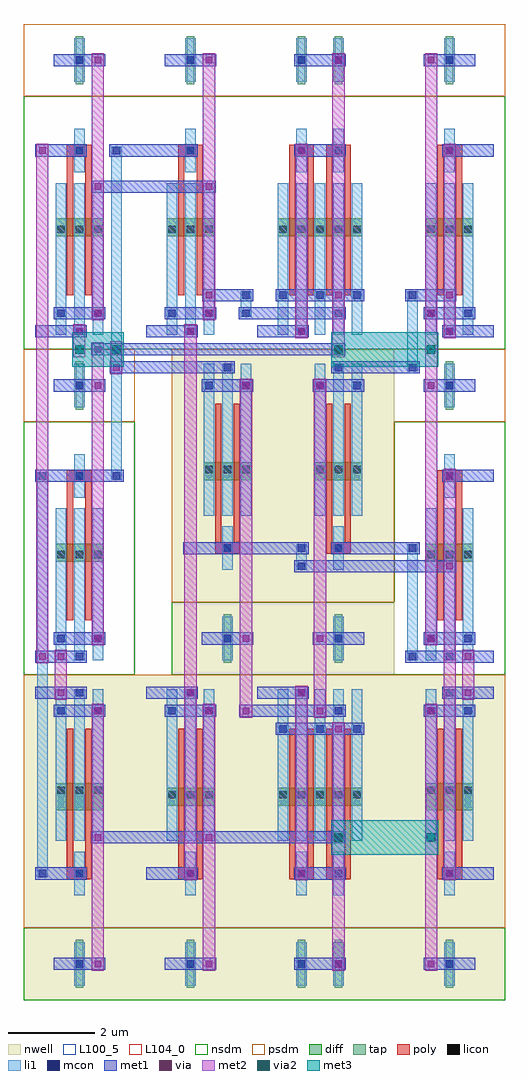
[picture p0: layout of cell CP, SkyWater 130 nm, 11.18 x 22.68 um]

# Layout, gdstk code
import gdstk
lib = gdstk.Library(unit=1e-6, precision=1e-09)
def R(c, l, rs):  # rectangles x0, y0, x1, y1
    for r in rs: c.add(gdstk.rectangle(r[:2], r[2:], *l))
def A(c, l, x, y, w, h, nx, ny, dx, dy):  # array of equal rectangles
    R(c, l, [(x+i*dx, y+j*dy, x+i*dx+w, y+j*dy+h) for i in range(nx) for j in range(ny)])
nwell = (64, 20)
diff = (65, 20)
tap = (65, 44)
poly = (66, 20)
licon = (66, 44)
li1 = (67, 20)
mcon = (67, 44)
met1 = (68, 20)
via = (68, 44)
met2 = (69, 20)
via2 = (69, 44)
met3 = (70, 20)
nsdm = (93, 44)
psdm = (94, 20)
L100_5 = (100, 5)
L104_0 = (104, 0)

c_cp = lib.new_cell('CP')
R(c_cp, nwell, [(0,0,2.58,7.56), (2.58,0,5.16,7.56), (5.16,0,8.6,7.56), (8.6,0,11.18,7.56), (3.44,7.56,6.02,15.12), (6.02,7.56,8.6,15.12)])
R(c_cp, diff, [(0.735,4.41,1.845,5.04), (9.335,4.41,10.445,5.04), (3.315,4.515,4.425,4.935), (5.895,4.515,7.865,4.935), (0.735,10.185,1.845,10.605), (9.335,10.185,10.445,10.605), (4.175,12.075,5.285,12.495), (6.755,12.075,7.865,12.495), (0.735,17.745,1.845,18.165), (3.315,17.745,4.425,18.165), (5.895,17.745,7.865,18.165), (9.335,17.745,10.445,18.165)])
A(c_cp, tap, 1.205, 0.28, 0.17, 1.12, 3, 2, 2.58, 21)
R(c_cp, tap, [(7.225,0.28,7.395,1.4), (9.805,0.28,9.975,1.4), (4.645,7.84,4.815,8.96), (7.225,7.84,7.395,8.96), (1.205,13.72,1.375,14.84), (9.805,13.72,9.975,14.84), (7.225,21.28,7.395,22.4), (9.805,21.28,9.975,22.4)])
A(c_cp, poly, 1, 2.805, 0.58, 0.27, 3, 2, 2.58, 16.8)
A(c_cp, poly, 6.16, 2.94, 0.15, 3.36, 4, 2, 0.43, 13.44)
R(c_cp, poly, [(7.02,2.805,7.6,3.075), (9.6,2.805,10.18,3.075), (1,2.94,1.15,6.3), (1.43,2.94,1.58,6.3), (3.58,2.94,3.73,6.3), (4.01,2.94,4.16,6.3), (9.6,2.94,9.75,6.3), (10.03,2.94,10.18,6.3), (1,8.82,1.15,12.18), (1.43,8.82,1.58,12.18), (9.6,8.82,9.75,12.18), (10.03,8.82,10.18,12.18), (4.44,10.365,5.02,10.635), (7.02,10.365,7.6,10.635), (4.44,10.5,4.59,13.86), (4.87,10.5,5.02,13.86), (7.02,10.5,7.17,13.86), (7.45,10.5,7.6,13.86), (1,12.045,1.58,12.315), (9.6,12.045,10.18,12.315), (1,16.38,1.15,19.74), (1.43,16.38,1.58,19.74), (3.58,16.38,3.73,19.74), (4.01,16.38,4.16,19.74), (9.6,16.38,9.75,19.74), (10.03,16.38,10.18,19.74), (7.02,19.605,7.6,19.875), (9.6,19.605,10.18,19.875)])
A(c_cp, licon, 1.205, 0.755, 0.17, 0.17, 3, 2, 2.58, 2.1)
A(c_cp, licon, 3.355, 4.685, 0.17, 0.17, 3, 2, 0.43, 13.14)
A(c_cp, licon, 5.935, 4.685, 0.17, 0.17, 3, 2, 0.43, 13.14)
A(c_cp, licon, 6.795, 4.685, 0.17, 0.17, 3, 2, 0.43, 7.56)
A(c_cp, licon, 0.775, 4.79, 0.17, 0.17, 3, 2, 0.43, 5.475)
A(c_cp, licon, 9.375, 4.79, 0.17, 0.17, 3, 2, 0.43, 5.475)
A(c_cp, licon, 4.215, 12.245, 0.17, 0.17, 3, 1, 0.43, 0)
A(c_cp, licon, 0.775, 17.825, 0.17, 0.17, 3, 1, 0.43, 0)
A(c_cp, licon, 6.795, 17.825, 0.17, 0.17, 3, 1, 0.43, 0)
A(c_cp, licon, 9.375, 17.825, 0.17, 0.17, 3, 1, 0.43, 0)
A(c_cp, licon, 1.205, 19.655, 0.17, 0.17, 3, 2, 2.58, 2.1)
R(c_cp, licon, [(7.225,0.755,7.395,0.925), (9.805,0.755,9.975,0.925), (7.225,2.855,7.395,3.025), (9.805,2.855,9.975,3.025), (4.645,8.315,4.815,8.485), (7.225,8.315,7.395,8.485), (4.645,10.415,4.815,10.585), (7.225,10.415,7.395,10.585), (1.205,12.095,1.375,12.265), (9.805,12.095,9.975,12.265), (1.205,14.195,1.375,14.365), (9.805,14.195,9.975,14.365), (7.225,19.655,7.395,19.825), (9.805,19.655,9.975,19.825), (7.225,21.755,7.395,21.925), (9.805,21.755,9.975,21.925)])
A(c_cp, li1, 1.165, 0.335, 0.25, 1.01, 3, 2, 2.58, 2.1)
A(c_cp, li1, 0.735, 3.695, 0.25, 3.53, 3, 2, 0.43, 4.2)
A(c_cp, li1, 3.315, 3.695, 0.25, 3.53, 3, 2, 0.43, 11.76)
A(c_cp, li1, 5.895, 3.695, 0.25, 3.53, 5, 2, 0.43, 11.76)
A(c_cp, li1, 9.335, 3.695, 0.25, 3.53, 3, 2, 0.43, 4.2)
A(c_cp, li1, 4.175, 11.255, 0.25, 3.53, 3, 1, 0.43, 0)
A(c_cp, li1, 6.755, 11.255, 0.25, 3.53, 3, 1, 0.43, 0)
A(c_cp, li1, 0.735, 15.455, 0.25, 3.53, 3, 1, 0.43, 0)
A(c_cp, li1, 9.335, 15.455, 0.25, 3.53, 3, 1, 0.43, 0)
A(c_cp, li1, 1.165, 19.235, 0.25, 1.01, 3, 2, 2.58, 2.1)
R(c_cp, li1, [(7.185,0.335,7.435,1.345), (9.765,0.335,10.015,1.345), (7.185,2.435,7.435,3.445), (9.765,2.435,10.015,3.445), (0.305,2.855,0.555,12.265), (4.605,7.895,4.855,8.905), (7.185,7.895,7.435,8.905), (8.905,7.895,9.155,10.585), (4.605,9.995,4.855,11.005), (6.325,9.995,6.575,10.585), (7.185,9.995,7.435,11.005), (1.165,11.675,1.415,12.685), (9.765,11.675,10.015,12.685), (2.025,12.095,2.275,19.825), (1.165,13.775,1.415,14.785), (9.765,13.775,10.015,14.785), (8.905,14.615,9.155,16.465), (5.035,15.875,5.285,16.465), (7.185,19.235,7.435,20.245), (9.765,19.235,10.015,20.245), (7.185,21.335,7.435,22.345), (9.765,21.335,10.015,22.345)])
A(c_cp, mcon, 1.205, 0.755, 0.17, 0.17, 3, 2, 2.58, 2.1)
A(c_cp, mcon, 5.935, 6.215, 0.17, 0.17, 3, 1, 0.86, 0)
A(c_cp, mcon, 1.205, 7.055, 0.17, 0.17, 3, 2, 2.58, 8.4)
A(c_cp, mcon, 0.345, 12.095, 0.17, 0.17, 3, 1, 0.86, 0)
A(c_cp, mcon, 3.355, 15.875, 0.17, 0.17, 3, 1, 0.86, 0)
A(c_cp, mcon, 5.075, 16.295, 0.17, 0.17, 4, 1, 0.86, 0)
A(c_cp, mcon, 1.205, 21.755, 0.17, 0.17, 3, 1, 2.58, 0)
R(c_cp, mcon, [(7.225,0.755,7.395,0.925), (9.805,0.755,9.975,0.925), (0.345,2.855,0.515,3.025), (7.225,2.855,7.395,3.025), (9.805,2.855,9.975,3.025), (0.775,6.635,0.945,6.805), (1.635,6.635,1.805,6.805), (3.355,6.635,3.525,6.805), (4.215,6.635,4.385,6.805), (7.225,6.635,7.395,6.805), (9.375,6.635,9.545,6.805), (10.235,6.635,10.405,6.805), (9.805,7.055,9.975,7.225), (1.205,7.895,1.375,8.065), (8.945,7.895,9.115,8.065), (9.805,7.895,9.975,8.065), (0.775,8.315,0.945,8.485), (1.635,8.315,1.805,8.485), (4.645,8.315,4.815,8.485), (7.225,8.315,7.395,8.485), (9.375,8.315,9.545,8.485), (10.235,8.315,10.405,8.485), (6.365,9.995,6.535,10.165), (4.645,10.415,4.815,10.585), (6.365,10.415,6.535,10.585), (7.225,10.415,7.395,10.585), (8.945,10.415,9.115,10.585), (9.805,12.095,9.975,12.265), (1.205,14.195,1.375,14.365), (4.215,14.195,4.385,14.365), (5.075,14.195,5.245,14.365), (6.795,14.195,6.965,14.365), (7.655,14.195,7.825,14.365), (9.805,14.195,9.975,14.365), (4.645,14.615,4.815,14.785), (7.225,14.615,7.395,14.785), (8.945,14.615,9.115,14.785), (9.805,15.455,9.975,15.625), (0.775,15.875,0.945,16.045), (1.635,15.875,1.805,16.045), (7.225,15.875,7.395,16.045), (9.375,15.875,9.545,16.045), (10.235,15.875,10.405,16.045), (8.945,16.295,9.115,16.465), (1.205,19.655,1.375,19.825), (2.065,19.655,2.235,19.825), (3.785,19.655,3.955,19.825), (6.365,19.655,6.535,19.825), (7.225,19.655,7.395,19.825), (9.805,19.655,9.975,19.825), (7.225,21.755,7.395,21.925), (9.805,21.755,9.975,21.925)])
A(c_cp, met1, 3.27, 0.7, 1.2, 0.28, 3, 2, 3.01, 21)
A(c_cp, met1, 2.84, 2.8, 1.2, 0.28, 3, 1, 3.44, 0)
A(c_cp, met1, 0.26, 7, 1.2, 0.28, 3, 2, 2.58, 8.4)
A(c_cp, met1, 4.13, 8.26, 1.2, 0.28, 3, 2, 2.58, 5.88)
R(c_cp, met1, [(0.69,0.7,1.89,0.98), (0.26,2.8,1.46,3.08), (1.56,3.64,7.47,3.92), (5.85,6.16,7.91,6.44), (0.69,6.58,1.89,6.86), (3.27,6.58,4.47,6.86), (5,6.58,7.48,6.86), (9.29,6.58,10.49,6.86), (9.72,7,10.92,7.28), (0.26,7.84,1.46,8.12), (8.86,7.84,10.92,8.12), (0.69,8.26,1.89,8.54), (6.28,9.94,10.05,10.22), (3.7,10.36,6.62,10.64), (7.14,10.36,9.2,10.64), (0.26,12.04,2.32,12.32), (9.72,12.04,10.92,12.32), (0.69,14.14,1.89,14.42), (1.99,14.56,4.9,14.84), (7.14,14.56,9.2,14.84), (1.56,14.98,7.47,15.26), (9.72,15.4,10.92,15.68), (0.69,15.82,1.89,16.1), (3.27,15.82,4.47,16.1), (4.99,15.82,7.48,16.1), (9.29,15.82,10.49,16.1), (4.14,16.24,5.33,16.52), (5.85,16.24,7.91,16.52), (8.86,16.24,10.05,16.52), (1.56,18.76,4.46,19.04), (0.26,19.6,1.46,19.88), (1.98,19.6,4.04,19.88), (6.28,19.6,7.48,19.88), (9.72,19.6,10.92,19.88), (0.69,21.7,1.89,21.98)])
A(c_cp, via, 1.645, 0.765, 0.15, 0.15, 1, 3, 0, 2.94)
A(c_cp, via, 4.225, 0.765, 0.15, 0.15, 1, 3, 0, 2.94)
A(c_cp, via, 1.645, 14.205, 0.15, 0.15, 1, 3, 0, 0.84)
A(c_cp, via, 1.215, 15.465, 0.15, 0.15, 3, 1, 2.58, 0)
R(c_cp, via, [(7.235,0.765,7.385,0.915), (9.385,0.765,9.535,0.915), (3.795,2.865,3.945,3.015), (6.375,2.865,6.525,3.015), (9.815,2.865,9.965,3.015), (7.235,3.705,7.385,3.855), (7.235,6.225,7.385,6.375), (5.085,6.645,5.235,6.795), (6.805,6.645,6.955,6.795), (9.385,6.645,9.535,6.795), (0.785,7.065,0.935,7.215), (3.795,7.065,3.945,7.215), (6.375,7.065,6.525,7.215), (10.245,7.065,10.395,7.215), (0.355,7.905,0.505,8.055), (0.785,7.905,0.935,8.055), (10.245,7.905,10.395,8.055), (1.645,8.325,1.795,8.475), (5.085,8.325,5.235,8.475), (6.805,8.325,6.955,8.475), (9.385,8.325,9.535,8.475), (9.815,10.005,9.965,10.155), (9.815,12.105,9.965,12.255), (5.085,14.205,5.235,14.355), (6.805,14.205,6.955,14.355), (9.385,14.205,9.535,14.355), (2.075,14.625,2.225,14.775), (7.235,15.045,7.385,15.195), (9.815,15.465,9.965,15.615), (4.225,15.885,4.375,16.035), (9.385,15.885,9.535,16.035), (4.225,16.305,4.375,16.455), (7.235,16.305,7.385,16.455), (9.815,16.305,9.965,16.455), (1.645,18.825,1.795,18.975), (4.225,18.825,4.375,18.975), (0.355,19.665,0.505,19.815), (6.375,19.665,6.525,19.815), (9.815,19.665,9.965,19.815), (1.645,21.765,1.795,21.915), (4.225,21.765,4.375,21.915), (7.235,21.765,7.385,21.915), (9.385,21.765,9.535,21.915)])
R(c_cp, met2, [(1.58,0.68,1.86,6.88), (4.16,0.68,4.44,6.88), (7.17,0.68,7.45,6.46), (9.32,0.68,9.6,6.88), (3.73,2.78,4.01,15.7), (6.31,2.78,6.59,7.3), (9.75,2.78,10.03,12.34), (5.02,6.56,5.3,14.44), (6.74,6.56,7.02,14.44), (0.72,6.98,1,8.14), (10.18,6.98,10.46,8.14), (0.29,7.82,0.57,19.9), (1.58,8.24,1.86,15.28), (9.32,8.24,9.6,22), (2.01,14.54,2.29,15.305), (1.15,14.935,1.43,15.7), (7.17,14.935,7.45,22), (6.31,15.38,6.59,19.9), (9.75,15.38,10.03,19.9), (1.58,15.8,1.86,22), (4.16,15.8,4.44,22)])
R(c_cp, via2, [(7.21,3.68,7.41,3.88), (9.36,3.68,9.56,3.88), (1.19,15.02,1.39,15.22), (2.05,15.02,2.25,15.22), (7.21,15.02,7.41,15.22), (9.36,15.02,9.56,15.22)])
R(c_cp, met3, [(7.145,3.38,9.625,4.18), (1.125,14.72,2.315,15.52), (7.145,14.72,9.625,15.52)])
R(c_cp, nsdm, [(0,0,2.58,1.68), (2.58,0,5.16,1.68), (5.16,0,8.6,1.68), (8.6,0,11.18,1.68), (0,7.56,2.58,13.44), (3.44,7.56,6.02,9.24), (6.02,7.56,8.6,9.24), (8.6,7.56,11.18,13.44), (0,15.12,2.58,21), (2.58,15.12,5.16,21), (5.16,15.12,8.6,21), (8.6,15.12,11.18,21)])
R(c_cp, psdm, [(0,1.68,2.58,7.56), (2.58,1.68,5.16,7.56), (5.16,1.68,8.6,7.56), (8.6,1.68,11.18,7.56), (3.44,9.24,6.02,15.12), (6.02,9.24,8.6,15.12), (0,13.44,2.58,15.12), (8.6,13.44,11.18,15.12), (0,21,2.58,22.68), (2.58,21,5.16,22.68), (5.16,21,8.6,22.68), (8.6,21,11.18,22.68)])
R(c_cp, L100_5, [(0,0,11.18,22.68)])
R(c_cp, L104_0, [(0,0,11.18,22.68)])

lib.write_gds('CP.gds')
